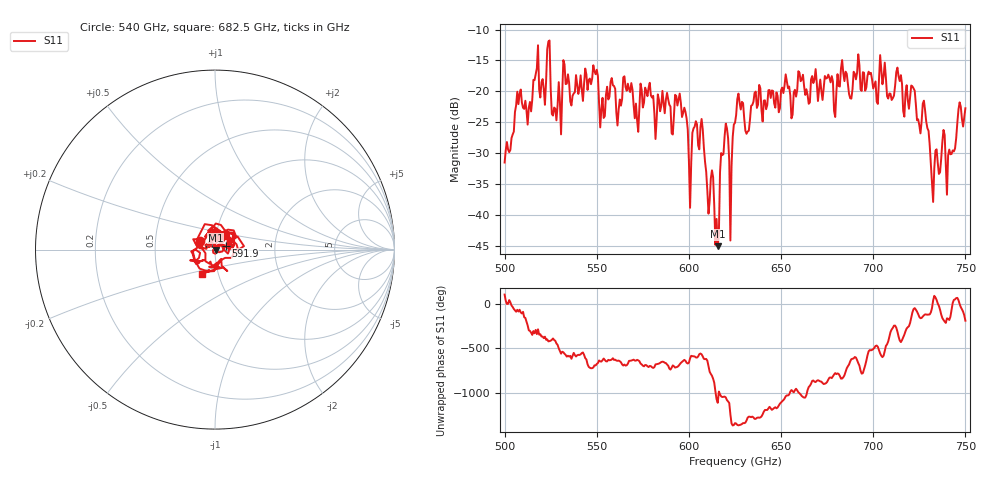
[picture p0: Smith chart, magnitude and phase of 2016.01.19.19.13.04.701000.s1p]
!Created with skrf (http://scikit-rf.org).
# GHz S RI R 50.0
!freq ReS11 ImS11
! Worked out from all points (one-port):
!   401 points, 500 GHz to 750 GHz, reference 50 ohm
!   lowest |S11| = -45.1 dB at 615.6 GHz (marker M1), VSWR 1.01, Z = 50.5 - j0.282 ohm
!   |S11| at or under -10 dB: start of sweep to end of sweep
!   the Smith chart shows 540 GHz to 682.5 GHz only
!   S11 on the Smith chart (normalised r, x): 540 GHz: 0.85, +0.08; 591.9 GHz: 1.13, +0.05; 682.5 GHz: 0.84, -0.23
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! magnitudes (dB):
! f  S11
! 500 GHz  -31.5
! 516.9 GHz  -17.3
! 520.6 GHz  -18.0
! 523.8 GHz  -11.9
! 526.9 GHz  -22.6
! 531.2 GHz  -20.5
! 540 GHz  -20.4
! 562.5 GHz  -21.3
! 565.6 GHz  -19.3
! 571.2 GHz  -22.0
! 577.5 GHz  -20.8
! 591.9 GHz  -24.0
! 593.8 GHz  -22.3
! 600.6 GHz  -38.9
! 603.1 GHz  -25.7
! 607.5 GHz  -26.2
! 615.6 GHz  -45.1
! 618.8 GHz  -30.2
! 622.5 GHz  -44.2
! 625 GHz  -25.1
! 656.2 GHz  -23.8
! 682.5 GHz  -16.3
! 687.5 GHz  -21.1
! 705 GHz  -18.9
! 718.8 GHz  -21.5
! 728.1 GHz  -23.1
! 732.5 GHz  -37.9
! 750 GHz  -22.7
